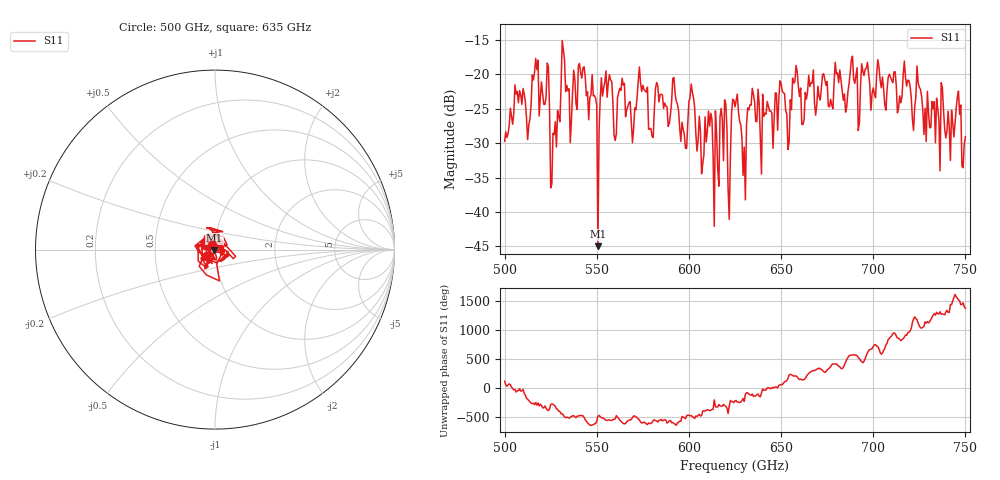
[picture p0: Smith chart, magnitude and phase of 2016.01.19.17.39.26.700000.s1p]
!Created with skrf (http://scikit-rf.org).
# GHz S RI R 50.0
!freq ReS11 ImS11
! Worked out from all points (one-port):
!   401 points, 500 GHz to 750 GHz, reference 50 ohm
!   lowest |S11| = -45.0 dB at 550.6 GHz (marker M1), VSWR 1.01, Z = 49.7 - j0.463 ohm
!   |S11| at or under -10 dB: start of sweep to end of sweep
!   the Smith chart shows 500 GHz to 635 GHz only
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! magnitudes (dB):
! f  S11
! 500 GHz  -29.7
! 506.9 GHz  -22.5
! 513.1 GHz  -27.4
! 516.9 GHz  -17.7
! 523.1 GHz  -18.4
! 526.2 GHz  -28.6
! 531.2 GHz  -15.1
! 535.6 GHz  -29.9
! 541.9 GHz  -20.6
! 550.6 GHz  -45.0
! 553.8 GHz  -22.0
! 560 GHz  -29.6
! 562.5 GHz  -22.0
! 579.4 GHz  -27.8
! 593.8 GHz  -24.3
! 611.2 GHz  -27.5
! 615 GHz  -28.6
! 618.8 GHz  -32.5
! 621.9 GHz  -41.1
! 625 GHz  -24.7
! 630 GHz  -30.6
! 634.4 GHz  -22.0
! 656.2 GHz  -20.6
! 687.5 GHz  -19.8
! 718.8 GHz  -20.8
! 740.6 GHz  -25.3
! 746.2 GHz  -22.4
! 750 GHz  -29.1
